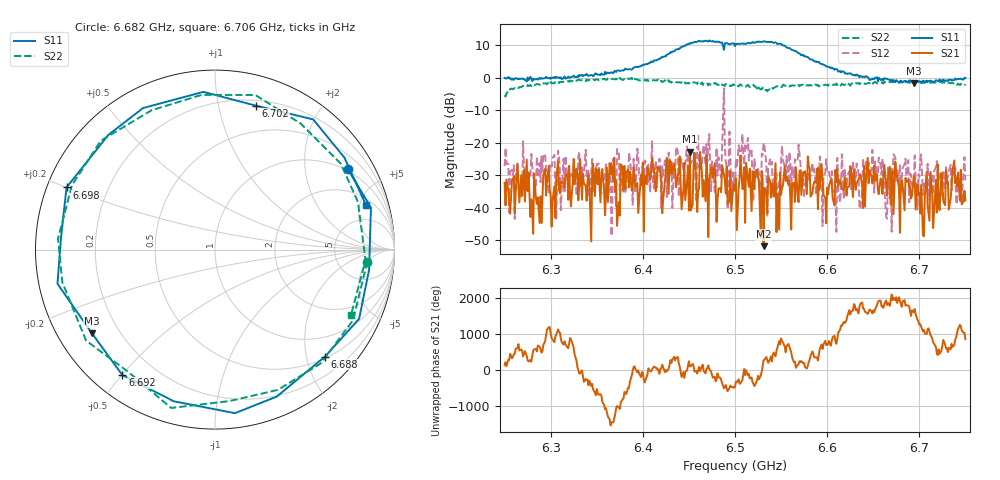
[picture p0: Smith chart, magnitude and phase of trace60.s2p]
# Hz S RI R 50
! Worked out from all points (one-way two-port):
!   401 points, 6.25 GHz to 6.75 GHz, reference 50 ohm
!   highest |S21| = -22.73 dB at 6.451 GHz (marker M1); lowest = -51.9 dB at 6.531 GHz (marker M2)
!   lowest |S11| = -1.6 dB at 6.694 GHz (marker M3), VSWR 10.72, Z = 5.1 - j15.2 ohm
!   |S11| at or under -10 dB: nowhere
!   |S22| runs from -5.7 to 0.0 dB; largest |S21 - S12| = 0.66
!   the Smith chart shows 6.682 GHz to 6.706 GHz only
!   S11 on the Smith chart (normalised r, x): 6.682 GHz: 0.93, +3.33; 6.688 GHz: 0.53, -2.36; 6.692 GHz: 0.09, -0.50; 6.698 GHz: 0.06, +0.20; 6.702 GHz: 0.25, +1.30; 6.706 GHz: 2.63, +5.69
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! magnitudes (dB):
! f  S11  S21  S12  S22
! 6.25 GHz  0.0  -32.3  -27.2  -5.4
! 6.334 GHz  1.0  -37.6  -27.2  -0.7
! 6.366 GHz  1.7  -26.3  -48.7  -0.4
! 6.372 GHz  2.3  -45.6  -21.9  -0.4
! 6.418 GHz  5.8  -27.8  -24.9  -1.3
! 6.451 GHz  10.5  -22.7  -22.9  -1.2
! 6.476 GHz  11.4  -30.8  -28.3  -2.0
! 6.489 GHz  10.7  -31.6  -21.4  -2.5
! 6.5 GHz  9.8  -34.8  -34.0  -1.9
! 6.531 GHz  11.2  -51.9  -20.0  -3.0
! 6.544 GHz  10.9  -26.3  -30.7  -2.8
! 6.584 GHz  5.6  -35.6  -26.2  -2.5
! 6.659 GHz  -0.6  -31.6  -29.8  -1.5
! 6.668 GHz  -0.6  -27.4  -37.1  -1.2
! 6.682 GHz  -1.3  -33.3  -27.7  -1.4
! 6.688 GHz  -1.4  -31.4  -25.4  -1.4
! 6.692 GHz  -1.2  -36.3  -33.2  -1.2
! 6.694 GHz  -1.6  -30.3  -32.2  -1.1
! 6.698 GHz  -0.9  -32.9  -40.6  -1.4
! 6.702 GHz  -1.6  -33.0  -23.6  -1.4
! 6.706 GHz  -1.1  -36.1  -33.3  -1.5
! 6.75 GHz  0.0  -37.8  -31.6  -2.3
